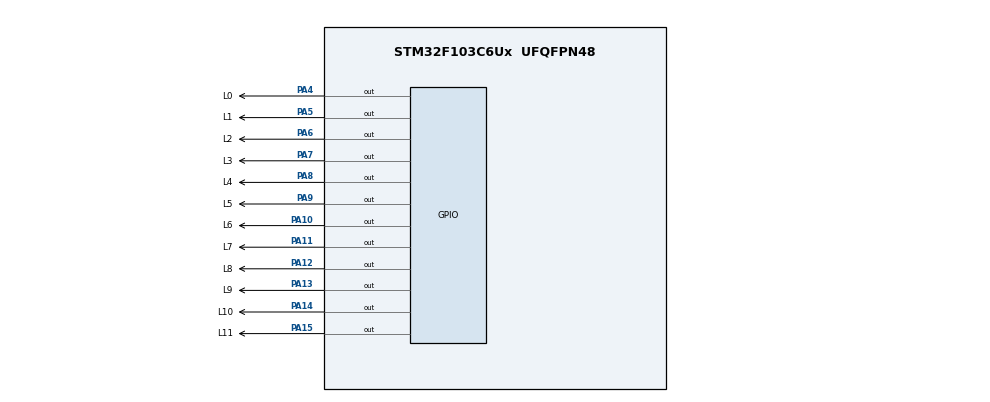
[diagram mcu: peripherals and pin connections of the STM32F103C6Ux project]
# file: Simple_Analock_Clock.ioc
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Mcu.Family=STM32F1
Mcu.Name=STM32F103C6Ux
Mcu.Package=UFQFPN48
NVIC.PriorityGroup=NVIC_PRIORITYGROUP_4
PA10.GPIO_Label=L6
PA10.Signal=GPIO_Output
PA11.GPIO_Label=L7
PA11.Signal=GPIO_Output
PA12.GPIO_Label=L8
PA12.Signal=GPIO_Output
PA13.GPIO_Label=L9
PA13.Signal=GPIO_Output
PA14.GPIO_Label=L10
PA14.Signal=GPIO_Output
PA15.GPIO_Label=L11
PA15.Signal=GPIO_Output
PA4.GPIO_Label=L0
PA4.Signal=GPIO_Output
PA5.GPIO_Label=L1
PA5.Signal=GPIO_Output
PA6.GPIO_Label=L2
PA6.Signal=GPIO_Output
PA7.GPIO_Label=L3
PA7.Signal=GPIO_Output
PA8.GPIO_Label=L4
PA8.Signal=GPIO_Output
PA9.GPIO_Label=L5
PA9.Signal=GPIO_Output
ProjectManager.HeapSize=0x200
ProjectManager.StackSize=0x400
ProjectManager.TargetToolchain=STM32CubeIDE
RCC.APB1Freq_Value=8000000
RCC.APB2Freq_Value=8000000
VP_SYS_VS_ND.Mode=No_Debug
board=custom

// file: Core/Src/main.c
/* USER CODE BEGIN Header */
/**
  ******************************************************************************
  * @file           : main.c
  * @brief          : Main program body
  ******************************************************************************
  * @attention
  *
  * <h2><center>&copy; Copyright (c) 2022 STMicroelectronics.
  * All rights reserved.</center></h2>
  *
  * This software component is licensed by ST under BSD 3-Clause license,
  * the "License"; You may not use this file except in compliance with the
  * License. You may obtain a copy of the License at:
  *                        opensource.org/licenses/BSD-3-Clause
  *
  ******************************************************************************
  */
/* USER CODE END Header */
#include "main.h"

void SystemClock_Config(void);
static void MX_GPIO_Init(void);

int main(void)
{

  /* MCU Configuration--------------------------------------------------------*/

  /* Reset of all peripherals, Initializes the Flash interface and the Systick. */
  HAL_Init();

  /* Configure the system clock */
  SystemClock_Config();

  /* Initialize all configured peripherals */
  MX_GPIO_Init();

  /* Infinite loop */
  /* USER CODE BEGIN WHILE */
  void Operate(int count){
	  if(count==0){
	  		  HAL_GPIO_WritePin( L11_GPIO_Port , L11_Pin ,GPIO_PIN_RESET );
	  		  HAL_GPIO_WritePin( L0_GPIO_Port , L0_Pin ,GPIO_PIN_SET );
	  	  }
	  	  else if(count==1){
	  		  HAL_GPIO_WritePin( L0_GPIO_Port , L0_Pin ,GPIO_PIN_RESET );
	  		  HAL_GPIO_WritePin( L1_GPIO_Port , L1_Pin ,GPIO_PIN_SET );
	  	  }
	  	  else if(count==2){
	  		  HAL_GPIO_WritePin( L1_GPIO_Port , L1_Pin ,GPIO_PIN_RESET );
	  		  HAL_GPIO_WritePin( L2_GPIO_Port , L2_Pin ,GPIO_PIN_SET );
	  	  }
	  	  else if(count==3){
	  		  HAL_GPIO_WritePin( L2_GPIO_Port , L2_Pin ,GPIO_PIN_RESET );
	  		  HAL_GPIO_WritePin( L3_GPIO_Port , L3_Pin ,GPIO_PIN_SET );
	  	  }
	  	  else if(count==4){
	  		  HAL_GPIO_WritePin( L3_GPIO_Port , L3_Pin ,GPIO_PIN_RESET );
	  		  HAL_GPIO_WritePin( L4_GPIO_Port , L4_Pin ,GPIO_PIN_SET );
	  	  }
	  	  else if(count==5){
	  		  HAL_GPIO_WritePin( L4_GPIO_Port , L4_Pin ,GPIO_PIN_RESET );
	  		  HAL_GPIO_WritePin( L5_GPIO_Port , L5_Pin ,GPIO_PIN_SET );
	  	  }
	  	  else if(count==6){
	  		  HAL_GPIO_WritePin( L5_GPIO_Port , L5_Pin ,GPIO_PIN_RESET );
	  		  HAL_GPIO_WritePin( L6_GPIO_Port , L6_Pin ,GPIO_PIN_SET );
	  	  }
	  	  else if(count==7){
	  		  HAL_GPIO_WritePin( L6_GPIO_Port , L6_Pin ,GPIO_PIN_RESET );
	  		  HAL_GPIO_WritePin( L7_GPIO_Port , L7_Pin ,GPIO_PIN_SET );
	  	  }
	  	  else if(count==8){
	  		  HAL_GPIO_WritePin( L7_GPIO_Port , L7_Pin ,GPIO_PIN_RESET );
	  		  HAL_GPIO_WritePin( L8_GPIO_Port , L8_Pin ,GPIO_PIN_SET );
	  	  }
	  	  else if(count==9){
	  		  HAL_GPIO_WritePin( L8_GPIO_Port , L8_Pin ,GPIO_PIN_RESET );
	  		  HAL_GPIO_WritePin( L9_GPIO_Port , L9_Pin ,GPIO_PIN_SET );
	  	  }
	  	  else if(count==10){
	  		  HAL_GPIO_WritePin( L9_GPIO_Port , L9_Pin ,GPIO_PIN_RESET );
	  		  HAL_GPIO_WritePin( L10_GPIO_Port , L10_Pin ,GPIO_PIN_SET );
	  	  }
	  	  else if(count==11){
	  		  HAL_GPIO_WritePin( L10_GPIO_Port , L10_Pin ,GPIO_PIN_RESET );
	  		  HAL_GPIO_WritePin( L11_GPIO_Port , L11_Pin ,GPIO_PIN_SET );
	  	  }
  }
  int count=0;
  while (1)
  {
	  if(count>=12) count=0;
	  Operate(count);
	  count++;
	  HAL_Delay(1000);
    /* USER CODE END WHILE */

  }
}

void SystemClock_Config(void)
{
  RCC_OscInitTypeDef RCC_OscInitStruct = {0};
  RCC_ClkInitTypeDef RCC_ClkInitStruct = {0};

  /** Initializes the RCC Oscillators according to the specified parameters
  * in the RCC_OscInitTypeDef structure.
  */
  RCC_OscInitStruct.OscillatorType = RCC_OSCILLATORTYPE_HSI;
  RCC_OscInitStruct.HSIState = RCC_HSI_ON;
  RCC_OscInitStruct.HSICalibrationValue = RCC_HSICALIBRATION_DEFAULT;
  RCC_OscInitStruct.PLL.PLLState = RCC_PLL_NONE;
  if (HAL_RCC_OscConfig(&RCC_OscInitStruct) != HAL_OK)
  {
    Error_Handler();
  }
  /** Initializes the CPU, AHB and APB buses clocks
  */
  RCC_ClkInitStruct.ClockType = RCC_CLOCKTYPE_HCLK|RCC_CLOCKTYPE_SYSCLK
                              |RCC_CLOCKTYPE_PCLK1|RCC_CLOCKTYPE_PCLK2;
  RCC_ClkInitStruct.SYSCLKSource = RCC_SYSCLKSOURCE_HSI;
  RCC_ClkInitStruct.AHBCLKDivider = RCC_SYSCLK_DIV1;
  RCC_ClkInitStruct.APB1CLKDivider = RCC_HCLK_DIV1;
  RCC_ClkInitStruct.APB2CLKDivider = RCC_HCLK_DIV1;

  if (HAL_RCC_ClockConfig(&RCC_ClkInitStruct, FLASH_LATENCY_0) != HAL_OK)
  {
    Error_Handler();
  }
}

static void MX_GPIO_Init(void)
{
  GPIO_InitTypeDef GPIO_InitStruct = {0};

  /* GPIO Ports Clock Enable */
  __HAL_RCC_GPIOA_CLK_ENABLE();

  /*Configure GPIO pin Output Level */
  HAL_GPIO_WritePin(GPIOA, L0_Pin|L1_Pin|L2_Pin|L3_Pin
                          |L4_Pin|L5_Pin|L6_Pin|L7_Pin
                          |L8_Pin|L9_Pin|L10_Pin|L11_Pin, GPIO_PIN_RESET);

  /*Configure GPIO pins : L0_Pin L1_Pin L2_Pin L3_Pin
                           L4_Pin L5_Pin L6_Pin L7_Pin
                           L8_Pin L9_Pin L10_Pin L11_Pin */
  GPIO_InitStruct.Pin = L0_Pin|L1_Pin|L2_Pin|L3_Pin
                          |L4_Pin|L5_Pin|L6_Pin|L7_Pin
                          |L8_Pin|L9_Pin|L10_Pin|L11_Pin;
  GPIO_InitStruct.Mode = GPIO_MODE_OUTPUT_PP;
  GPIO_InitStruct.Pull = GPIO_NOPULL;
  GPIO_InitStruct.Speed = GPIO_SPEED_FREQ_LOW;
  HAL_GPIO_Init(GPIOA, &GPIO_InitStruct);

}

void Error_Handler(void)
{
  __disable_irq();
  while (1)
  {
  }
}

/************************ (C) COPYRIGHT STMicroelectronics *****END OF FILE****/
